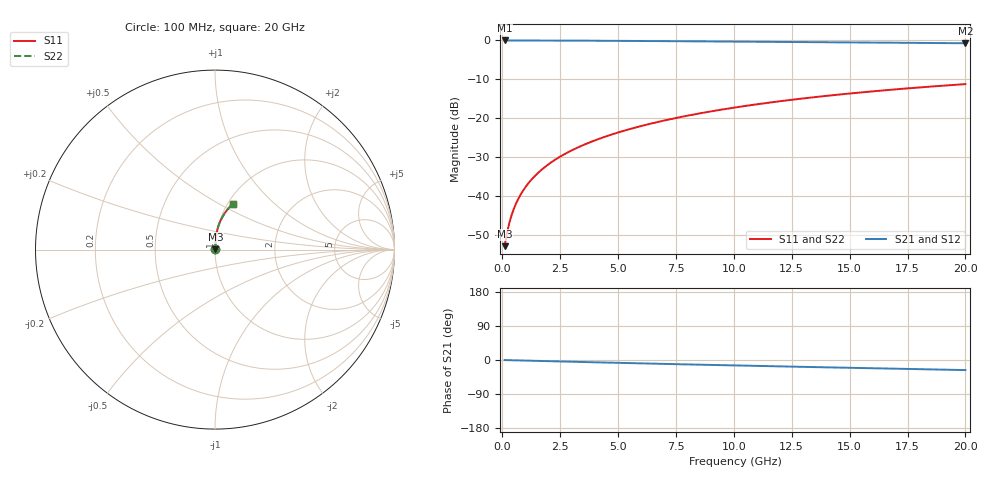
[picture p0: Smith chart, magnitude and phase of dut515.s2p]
! Touchstone file exported from HFSS 2024.1.0
!  File:  C:/UserFiles/LocalFiles/RDL_TSV_Batchsim/temp_RDL_top_515_1779679607.aedt
!  Generated:  11:28:45 AM May 25, 2026
!  Design:  RDL_top
!  Project:  temp_RDL_top_515_1779679607
!  Setup:  Setup1
!  Solution:  Sweep
! Variables:
!  dtsv = 10.80580581um
!  hbump = 3um
!  htsv = 56.73um
!  ldown = 100um
!  lrdl = 358.36um
!  p = 40
!  p1 = 46.84um
!  rhole = 1um
!  t = 450um
!  tdown = 3.915915916um
!  trdl = 3.97um
!  wdown = 15.38538539um
!  wrdl = 19.43um
# GHz S MA R 50.000000
! Terminal data exported
! Port[1] = Box2_T1
! Port[2] = Box2_T2
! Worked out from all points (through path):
!   200 points, 100 MHz to 20 GHz, reference 50 ohm
!   highest |S21| = -0.02 dB at 100 MHz (marker M1); lowest = -0.7 dB at 20 GHz (marker M2)
!   group delay of S21, straight-line fit = 3.66 ps
!   lowest |S11| = -52.8 dB at 100 MHz (marker M3), VSWR 1.00, Z = 50.2 + j0.14 ohm
!   |S11| at or under -10 dB: start of sweep to end of sweep
!   |S22| runs from -52.8 to -11.2 dB; largest |S21 - S12| = 2e-15
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0.1  0.002286 37.5  0.9982 -0.2  0.9982 -0.2  0.002286 37.5
! Gamma 0 0 0 0
! Port Impedance 50 0 50 0
0.2  0.00333 55.4  0.9981 -0.3  0.9981 -0.3  0.00333 55.4
0.3  0.004502 64.0  0.998 -0.5  0.998 -0.5  0.004502 64.0
0.4  0.005702 69.0  0.9979 -0.6  0.9979 -0.6  0.005702 69.0
0.5  0.006911 72.3  0.9978 -0.8  0.9978 -0.8  0.006911 72.3
0.6  0.008129 74.7  0.9977 -0.9  0.9977 -0.9  0.008129 74.7
0.8  0.01059 77.9  0.9975 -1.2  0.9975 -1.2  0.01059 77.9
1.1  0.01433 80.8  0.9972 -1.7  0.9972 -1.7  0.01433 80.8
1.5  0.01938 83.0  0.9966 -2.3  0.9966 -2.3  0.01938 83.0
1.8  0.0232 84.0  0.9961 -2.8  0.9961 -2.8  0.0232 84.0
2.1  0.02706 84.6  0.9955 -3.2  0.9955 -3.2  0.02706 84.6
2.7  0.03485 85.4  0.9941 -4.1  0.9941 -4.1  0.03485 85.4
3.5  0.04541 85.9  0.9919 -5.3  0.9919 -5.3  0.04541 85.9
4.2  0.05481 85.9  0.9896 -6.4  0.9896 -6.4  0.05482 85.9
5  0.06574 85.8  0.9867 -7.5  0.9867 -7.5  0.06575 85.8
5.9  0.07825 85.3  0.9832 -8.8  0.9832 -8.8  0.07826 85.3
6.8  0.09096 84.7  0.9795 -10.0  0.9795 -10.0  0.09096 84.7
8.4  0.1139 83.2  0.9726 -12.2  0.9726 -12.2  0.1139 83.2
10.1  0.1384 81.3  0.9651 -14.4  0.9651 -14.4  0.1384 81.3
13.4  0.1857 77.2  0.9501 -18.6  0.9501 -18.6  0.1857 77.2
16.7  0.2314 72.9  0.9347 -22.7  0.9347 -22.7  0.2314 72.9
20  0.2748 68.7  0.9188 -26.6  0.9188 -26.6  0.2748 68.7
